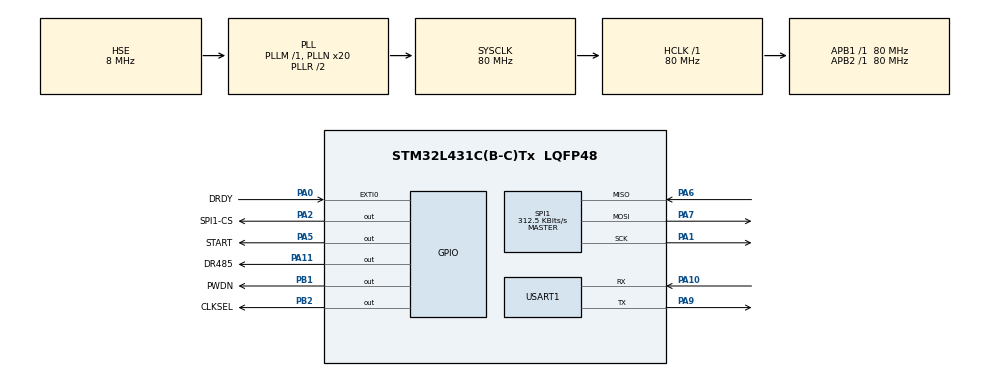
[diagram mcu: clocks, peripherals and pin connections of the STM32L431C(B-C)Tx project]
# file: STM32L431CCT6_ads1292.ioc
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Dma.Request0=SPI1_RX
Dma.Request1=SPI1_TX
Dma.SPI1_RX.0.Direction=DMA_PERIPH_TO_MEMORY
Dma.SPI1_RX.0.Instance=DMA1_Channel2
Dma.SPI1_RX.0.MemDataAlignment=DMA_MDATAALIGN_BYTE
Dma.SPI1_RX.0.MemInc=DMA_MINC_ENABLE
Dma.SPI1_RX.0.Mode=DMA_NORMAL
Dma.SPI1_RX.0.PeriphDataAlignment=DMA_PDATAALIGN_BYTE
Dma.SPI1_RX.0.PeriphInc=DMA_PINC_DISABLE
Dma.SPI1_RX.0.Priority=DMA_PRIORITY_HIGH
Dma.SPI1_TX.1.Direction=DMA_MEMORY_TO_PERIPH
Dma.SPI1_TX.1.Instance=DMA1_Channel3
Dma.SPI1_TX.1.MemDataAlignment=DMA_MDATAALIGN_BYTE
Dma.SPI1_TX.1.MemInc=DMA_MINC_ENABLE
Dma.SPI1_TX.1.Mode=DMA_NORMAL
Dma.SPI1_TX.1.PeriphDataAlignment=DMA_PDATAALIGN_BYTE
Dma.SPI1_TX.1.PeriphInc=DMA_PINC_DISABLE
Dma.SPI1_TX.1.Priority=DMA_PRIORITY_HIGH
Mcu.Family=STM32L4
Mcu.Name=STM32L431C(B-C)Tx
Mcu.Package=LQFP48
NVIC.DMA1_Channel2_IRQn=true\:0\:0\:false\:false\:true\:false\:true\:true
NVIC.DMA1_Channel3_IRQn=true\:0\:0\:false\:false\:true\:false\:true\:true
NVIC.EXTI0_IRQn=true\:0\:0\:false\:false\:true\:true\:true\:true
NVIC.PriorityGroup=NVIC_PRIORITYGROUP_4
NVIC.SPI1_IRQn=true\:0\:0\:false\:false\:true\:true\:true\:true
NVIC.USART1_IRQn=true\:0\:0\:false\:false\:true\:true\:true\:true
PA0.GPIO_Label=DRDY
PA0.GPIO_ModeDefaultEXTI=GPIO_MODE_IT_FALLING
PA0.GPIO_PuPd=GPIO_PULLUP
PA0.Signal=GPXTI0
PA1.Mode=Full_Duplex_Master
PA1.Signal=SPI1_SCK
PA10.Mode=Asynchronous
PA10.Signal=USART1_RX
PA11.GPIO_Label=DR485
PA11.PinState=GPIO_PIN_RESET
PA11.Signal=GPIO_Output
PA13\ (JTMS-SWDIO).Mode=Serial_Wire
PA13\ (JTMS-SWDIO).Signal=SYS_JTMS-SWDIO
PA14\ (JTCK-SWCLK).Mode=Serial_Wire
PA14\ (JTCK-SWCLK).Signal=SYS_JTCK-SWCLK
PA2.GPIO_Label=SPI1-CS
PA2.PinState=GPIO_PIN_SET
PA2.Signal=GPIO_Output
PA5.GPIO_Label=START
PA5.PinState=GPIO_PIN_RESET
PA5.Signal=GPIO_Output
PA6.Mode=Full_Duplex_Master
PA6.Signal=SPI1_MISO
PA7.Mode=Full_Duplex_Master
PA7.Signal=SPI1_MOSI
PA9.Mode=Asynchronous
PA9.Signal=USART1_TX
PB1.GPIO_Label=PWDN
PB1.PinState=GPIO_PIN_SET
PB1.Signal=GPIO_Output
PB2.GPIO_Label=CLKSEL
PB2.PinState=GPIO_PIN_RESET
PB2.Signal=GPIO_Output
PH0-OSC_IN\ (PH0).Mode=HSE-External-Oscillator
PH0-OSC_IN\ (PH0).Signal=RCC_OSC_IN
PH1-OSC_OUT\ (PH1).Mode=HSE-External-Oscillator
PH1-OSC_OUT\ (PH1).Signal=RCC_OSC_OUT
ProjectManager.HeapSize=0x200
ProjectManager.StackSize=0x400
ProjectManager.TargetToolchain=MDK-ARM V5.32
RCC.ADCFreq_Value=32000000
RCC.AHBFreq_Value=80000000
RCC.APB1Freq_Value=80000000
RCC.APB1TimFreq_Value=80000000
RCC.APB2Freq_Value=80000000
RCC.APB2TimFreq_Value=80000000
RCC.CortexFreq_Value=80000000
RCC.HCLKFreq_Value=80000000
RCC.HSE_VALUE=8000000
RCC.HSI48_VALUE=48000000
RCC.HSI_VALUE=16000000
RCC.LSE_VALUE=32768
RCC.MSI_VALUE=4000000
RCC.PLLN=20
RCC.PLLSourceVirtual=RCC_PLLSOURCE_HSE
RCC.SYSCLKFreq_VALUE=80000000
RCC.SYSCLKSource=RCC_SYSCLKSOURCE_PLLCLK
RCC.VCOOutputFreq_Value=160000000
SPI1.BaudRatePrescaler=SPI_BAUDRATEPRESCALER_256
SPI1.CLKPhase=SPI_PHASE_2EDGE
SPI1.CalculateBaudRate=312.5 KBits/s
SPI1.DataSize=SPI_DATASIZE_8BIT
SPI1.Direction=SPI_DIRECTION_2LINES
SPI1.Mode=SPI_MODE_MASTER
SPI1.VirtualType=VM_MASTER
USART1.VirtualMode-Asynchronous=VM_ASYNC
board=custom

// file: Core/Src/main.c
/* USER CODE BEGIN Header */
/**
  ******************************************************************************
  * @file           : main.c
  * @brief          : Main program body
  ******************************************************************************
  * @attention
  *
  * Copyright (c) 2026 STMicroelectronics.
  * All rights reserved.
  *
  * This software is licensed under terms that can be found in the LICENSE file
  * in the root directory of this software component.
  * If no LICENSE file comes with this software, it is provided AS-IS.
  *
  ******************************************************************************
  */
/* USER CODE END Header */
#include "main.h"
#include "dma.h"
#include "spi.h"
#include "usart.h"
#include "gpio.h"

/* USER CODE BEGIN Includes */
#include "ADS1292.h"
#include <stdio.h>
#include "ADS1292_App.h"
#include <math.h>
/* USER CODE END Includes */

/* USER CODE BEGIN PV */
extern volatile uint8_t drdy_flag;
extern volatile uint8_t spi_rx_done ;

extern int32_t raw_min;       // 最小原始值
extern int32_t raw_max ; // 最大原始值
extern int32_t raw_first[10];              // 前10个原始值留档
extern uint32_t ads_test_count;        // 当前已存样本数

uint8_t sam_sta=0;
extern  float ads_test_data[TEST_SAMPLES];
uint8_t output_done = 0;
static float ads_test_filtered[2500];
static float ads_bp_notch[2500];

typedef struct
{
    float z1;
    float z2;
} BiquadState;

float Biquad_Process(
    float x,
    float b0, float b1, float b2,
    float a1, float a2,
    BiquadState *s)
{
    float y = b0 * x + s->z1;

    s->z1 = b1 * x - a1 * y + s->z2;
    s->z2 = b2 * x - a2 * y;

    return y;
}

/* USER CODE END PV */

void SystemClock_Config(void);

/* USER CODE BEGIN 0 */

//* printf �ض��� RS485��dr485: ��=���ͣ���=���գ� */
int fputc(int ch, FILE *f)
{

    HAL_GPIO_WritePin(GPIOA, GPIO_PIN_11, GPIO_PIN_SET);
    //HAL_Delay(1);

    HAL_UART_Transmit(&huart1, (uint8_t *)&ch, 1, 100);

    while (!(USART1->ISR & USART_ISR_TC));

//    HAL_Delay(1);
    HAL_GPIO_WritePin(GPIOA, GPIO_PIN_11, GPIO_PIN_RESET);

    return ch;
}

/* USER CODE END 0 */

int main(void)
{

  /* MCU Configuration--------------------------------------------------------*/

  /* Reset of all peripherals, Initializes the Flash interface and the Systick. */
  HAL_Init();

  /* Configure the system clock */
  SystemClock_Config();

  /* Initialize all configured peripherals */
  MX_GPIO_Init();
  MX_DMA_Init();
  MX_SPI1_Init();
  MX_USART1_UART_Init();
  /* USER CODE BEGIN 2 */

 ads1292_Init();

  /* USER CODE END 2 */

  /* Infinite loop */
  while (1)
  {

    /* USER CODE BEGIN 3 */
    if (drdy_flag) {
        drdy_flag = 0;
        ads1291_start_read();
    }
    if (spi_rx_done) {
    spi_rx_done = 0;
    ads1292_parse_dma_buffer();
        if (ads_test_count >= TEST_SAMPLES) {
            sam_sta = 1;
        }
			}

			/* 3. 采满后只打印一次 */
    if (sam_sta) {
        sam_sta = 0;

        /* 关 DRDY 中断 */
        HAL_NVIC_DisableIRQ(EXTI0_IRQn);

        /* 停止 ADS1292 连续读取 */
        ads1292_cs(1);   // 没有这个函数就拉高 CS
//--------------------------------------------------------------------------
//       /* 2. 初始化滤波器 */
//        Notch50State notch50_bp;
//        Lpf40State   lpf40_bp;
//        Notch50_Reset(&notch50_bp);
//        Lpf40_Reset(&lpf40_bp);
//
//        /* 3. 执行级联滤波：先过 50Hz 陷波，再过 40Hz 低通 */
//        float temp_val;
//        for (uint32_t i = 0U; i < ads_test_count; i++) {
//            // 第一步：打掉 50Hz 及其带内干扰
//            temp_val = Notch50_Process(&notch50_bp, ads_test_data[i]);
//            // 第二步：切掉 40Hz 以上的所有高频谐波(100Hz/150Hz等)和毛刺
//            ads_bp_notch[i] = Lpf40_Process(&lpf40_bp, temp_val);
//        }

        /* ========================================================= */

        /* ========================================================= */

BiquadState hp_state = {0};
BiquadState notch_state = {0};
BiquadState lp_state = {0};
BiquadState notch100_state = {0};
for (uint32_t i = 0; i < ads_test_count; i++)
{
    float x = ads_test_data[i];

// 1. 5Hz 高通
float hp_out = Biquad_Process(
    x,
    0.95654323f,
   -1.91308645f,
    0.95654323f,
    -1.91119707f,
    0.91497583f,
    &hp_state
);

// 2. 49.967Hz 陷波，Q=10
float notch50_out = Biquad_Process(
    hp_out,
    0.97146564f,
   -1.57233788f,
    0.97146564f,
   -1.57233788f,
    0.94293128f,
    &notch_state
);

// 3. 100Hz 陷波
float notch100_out = Biquad_Process(
    notch50_out,
    0.98439639f,
   -0.60839043f,
    0.98439639f,
   -0.60839043f,
    0.96879278f,
    &notch100_state
);

// 4. 20Hz 低通
float lp_out = Biquad_Process(
    notch100_out,
    0.01335920f,
    0.02671840f,
    0.01335920f,
   -1.64745998f,
    0.70089678f,
    &lp_state
);

ads_bp_notch[i] = lp_out;
}
				        /* 4. 打印数据（跳过前 250 个点避开初始震荡） */
        printf("--- Data Start ---\r\n");
        for (uint32_t i = 250U; i < ads_test_count; ++i) {
            printf("%.9e\r\n", ads_bp_notch[i]);
//					printf("%.6f\r\n", ads_test_data[i]);
        }
        printf("--- Data End ---\r\n");

        /* 停在这里，不再采集 */
        while (1) {
            HAL_Delay(1000);

				}}

}
  /* USER CODE END 3 */
}

void SystemClock_Config(void)
{
  RCC_OscInitTypeDef RCC_OscInitStruct = {0};
  RCC_ClkInitTypeDef RCC_ClkInitStruct = {0};

  /** Configure the main internal regulator output voltage
  */
  if (HAL_PWREx_ControlVoltageScaling(PWR_REGULATOR_VOLTAGE_SCALE1) != HAL_OK)
  {
    Error_Handler();
  }

  /** Initializes the RCC Oscillators according to the specified parameters
  * in the RCC_OscInitTypeDef structure.
  */
  RCC_OscInitStruct.OscillatorType = RCC_OSCILLATORTYPE_HSE;
  RCC_OscInitStruct.HSEState = RCC_HSE_ON;
  RCC_OscInitStruct.PLL.PLLState = RCC_PLL_ON;
  RCC_OscInitStruct.PLL.PLLSource = RCC_PLLSOURCE_HSE;
  RCC_OscInitStruct.PLL.PLLM = 1;
  RCC_OscInitStruct.PLL.PLLN = 20;
  RCC_OscInitStruct.PLL.PLLP = RCC_PLLP_DIV7;
  RCC_OscInitStruct.PLL.PLLQ = RCC_PLLQ_DIV2;
  RCC_OscInitStruct.PLL.PLLR = RCC_PLLR_DIV2;
  if (HAL_RCC_OscConfig(&RCC_OscInitStruct) != HAL_OK)
  {
    Error_Handler();
  }

  /** Initializes the CPU, AHB and APB buses clocks
  */
  RCC_ClkInitStruct.ClockType = RCC_CLOCKTYPE_HCLK|RCC_CLOCKTYPE_SYSCLK
                              |RCC_CLOCKTYPE_PCLK1|RCC_CLOCKTYPE_PCLK2;
  RCC_ClkInitStruct.SYSCLKSource = RCC_SYSCLKSOURCE_PLLCLK;
  RCC_ClkInitStruct.AHBCLKDivider = RCC_SYSCLK_DIV1;
  RCC_ClkInitStruct.APB1CLKDivider = RCC_HCLK_DIV1;
  RCC_ClkInitStruct.APB2CLKDivider = RCC_HCLK_DIV1;

  if (HAL_RCC_ClockConfig(&RCC_ClkInitStruct, FLASH_LATENCY_4) != HAL_OK)
  {
    Error_Handler();
  }
}

void Error_Handler(void)
{
  __disable_irq();
  while (1)
  {
  }
}
